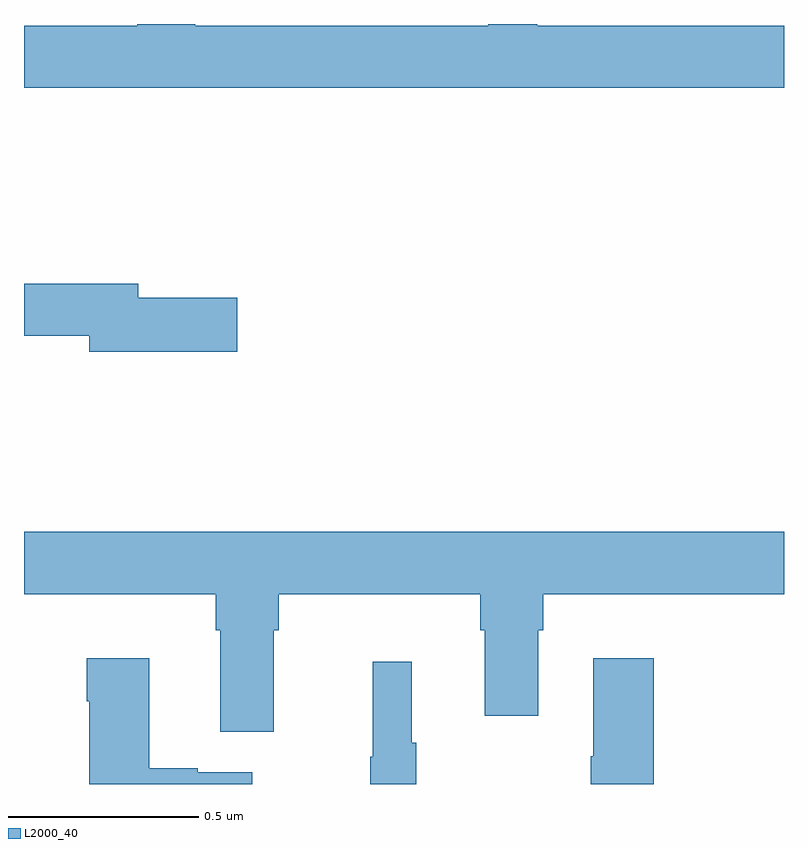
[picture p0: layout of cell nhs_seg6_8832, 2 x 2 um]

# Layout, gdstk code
import gdstk
lib = gdstk.Library(unit=1e-6, precision=1e-09)
def P(c, l, *ps):  # polygons
    for p in ps: c.add(gdstk.Polygon(p, *l))
L2000_40 = (2000, 40)

nhs_seg6_8832 = lib.new_cell('nhs_seg6_8832')
P(nhs_seg6_8832, L2000_40, [(228,951.496),(227.351,951.496),(227.351,951.5),(227.222,951.5),(227.222,951.496),(226.45,951.496),(226.45,951.5),(226.298,951.5),(226.298,951.496),(226,951.496),(226,951.332),(228,951.332)],
  [(226.561,950.78),(226.3,950.78),(226.3,950.816),(226,950.816),(226,950.68),(226.172,950.68),(226.172,950.638),(226.561,950.638)],
  [(226.657,949.904),(226.67,949.904),(226.67,950),(227.201,950),(227.201,949.904),(227.213,949.904),(227.213,949.68),(227.353,949.68),(227.353,949.904),(227.366,949.904),(227.366,950),(228,950),(228,950.164),(226,950.164),(226,950),(226.505,950),(226.505,949.904),(226.517,949.904),(226.517,949.638),(226.657,949.638)],
  [(227.657,949.831),(227.498,949.831),(227.498,949.573),(227.491,949.573),(227.491,949.5),(227.657,949.5)],
  [(226.6,949.531),(226.457,949.531),(226.457,949.541),(226.33,949.541),(226.33,949.831),(226.165,949.831),(226.165,949.718),(226.172,949.718),(226.172,949.5),(226.6,949.5)],
  [(227.032,949.609),(227.021,949.609),(227.021,949.822),(226.918,949.822),(226.918,949.572),(226.911,949.572),(226.911,949.5),(227.032,949.5)])

lib.write_gds('nhs_seg6_8832.gds')
